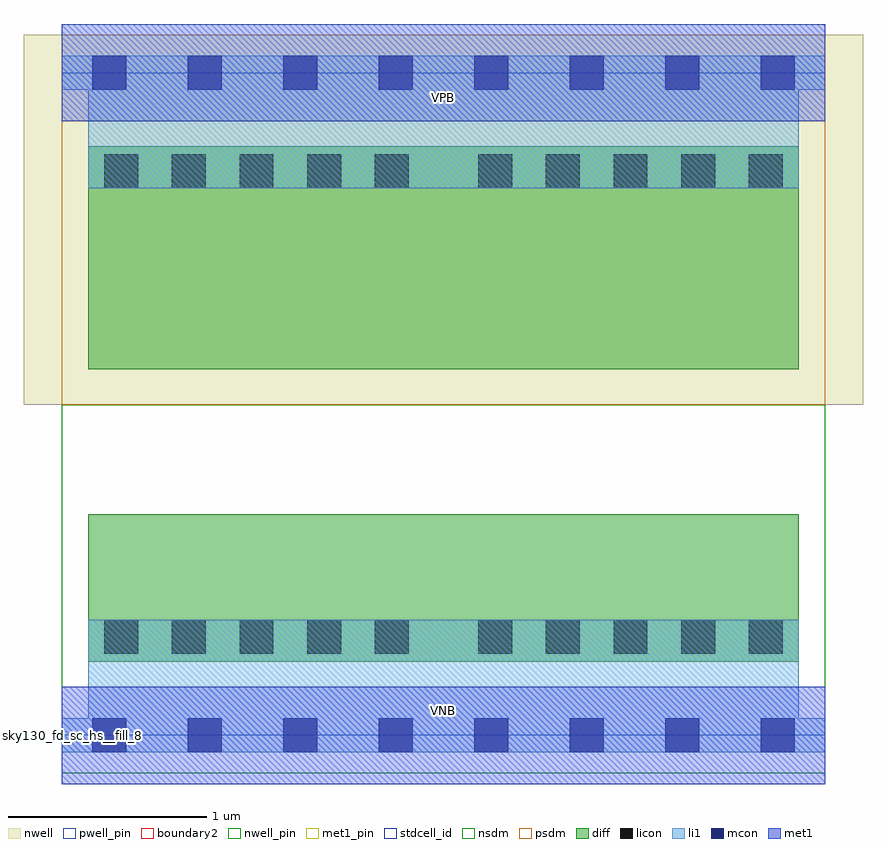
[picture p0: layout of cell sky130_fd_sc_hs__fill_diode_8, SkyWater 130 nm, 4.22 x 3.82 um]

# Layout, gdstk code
import gdstk
lib = gdstk.Library(unit=1e-6, precision=1e-09)
def R(c, l, rs):  # rectangles x0, y0, x1, y1
    for r in rs: c.add(gdstk.rectangle(r[:2], r[2:], *l))
def A(c, l, x, y, w, h, nx, ny, dx, dy):  # array of equal rectangles
    R(c, l, [(x+i*dx, y+j*dy, x+i*dx+w, y+j*dy+h) for i in range(nx) for j in range(ny)])
nwell_pin = (64, 16)
nwell = (64, 20)
diff = (65, 20)
licon = (66, 44)
li1 = (67, 20)
mcon = (67, 44)
met1_pin = (68, 16)
met1 = (68, 20)
stdcell_id = (81, 4)
nsdm = (93, 44)
psdm = (94, 20)
pwell_pin = (122, 16)
boundary2 = (236, 0)

sky130_fd_sc_hs__fill_di = lib.new_cell('sky130_fd_sc_hs__fill_diode_8')
R(sky130_fd_sc_hs__fill_di, nwell_pin, [(0,3.085,3.84,3.33)])
R(sky130_fd_sc_hs__fill_di, nwell, [(-0.19,1.66,4.03,3.52)])
R(sky130_fd_sc_hs__fill_di, diff, [(0.135,0.37,3.705,1.11), (0.135,1.84,3.705,2.96)])
A(sky130_fd_sc_hs__fill_di, licon, 0.215, 0.41, 0.17, 0.17, 5, 2, 0.34, 2.34)
A(sky130_fd_sc_hs__fill_di, licon, 2.095, 0.41, 0.17, 0.17, 5, 2, 0.34, 2.34)
R(sky130_fd_sc_hs__fill_di, li1, [(0,-0.085,3.84,0.085), (0.135,0.045,3.705,0.58), (0.135,2.75,3.705,3.245), (0,3.245,3.84,3.415)])
A(sky130_fd_sc_hs__fill_di, mcon, 0.155, -0.085, 0.17, 0.17, 8, 2, 0.48, 3.33)
R(sky130_fd_sc_hs__fill_di, met1_pin, [(0,0,3.84,0.245), (0,3.085,3.84,3.33)])
R(sky130_fd_sc_hs__fill_di, met1, [(0,-0.245,3.84,0.245), (0,3.085,3.84,3.575)])
R(sky130_fd_sc_hs__fill_di, stdcell_id, [(0,0,3.84,3.33)])
R(sky130_fd_sc_hs__fill_di, nsdm, [(0,-0.19,3.84,1.66)])
R(sky130_fd_sc_hs__fill_di, psdm, [(0,1.66,3.84,3.52)])
R(sky130_fd_sc_hs__fill_di, pwell_pin, [(0,0,3.84,0.245)])
R(sky130_fd_sc_hs__fill_di, boundary2, [(0,0,3.84,3.33)])
sky130_fd_sc_hs__fill_di.add(gdstk.Label('VNB', (1.92,0.123), layer=64, texttype=59))
sky130_fd_sc_hs__fill_di.add(gdstk.Label('VPB', (1.92,3.208), layer=64, texttype=5))
sky130_fd_sc_hs__fill_di.add(gdstk.Label('sky130_fd_sc_hs__fill_8', (0,0), layer=83, texttype=44))
sky130_fd_sc_hs__fill_di.add(gdstk.Label('VPWR', (1.92,3.208), layer=68, texttype=5))
sky130_fd_sc_hs__fill_di.add(gdstk.Label('VGND', (1.92,0.123), layer=68, texttype=5))

lib.write_gds('sky130_fd_sc_hs__fill_diode_8.gds')
